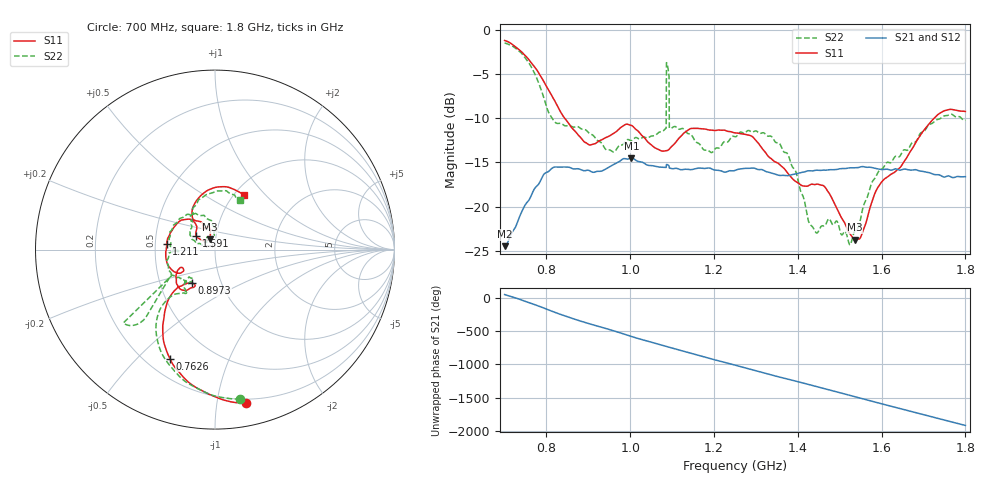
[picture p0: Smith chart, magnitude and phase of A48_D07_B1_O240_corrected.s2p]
! Created with skrf 1.9.0 (http://scikit-rf.org).
# Hz S RI R 50.0
!freq ReS11 ImS11 ReS21 ImS21 ReS12 ImS12 ReS22 ImS22
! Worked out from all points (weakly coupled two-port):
!   1601 points, 700 MHz to 1.8 GHz, reference 50 ohm
!   highest |S21| = -14.51 dB at 1.002 GHz (marker M1); lowest = -24.5 dB at 700.7 MHz (marker M2)
!   lowest |S11| = -23.7 dB at 1.535 GHz (marker M3), VSWR 1.14, Z = 46.9 + j5.46 ohm
!   |S11| at or under -10 dB: 843.6 MHz to 1.725 GHz (881.3 MHz wide, 68.6 % of centre)
!   |S22| runs from -24.3 to -1.5 dB; largest |S21 - S12| = 0.0036
!   S11 on the Smith chart (normalised r, x): 700 MHz: 0.17, -1.21; 762.6 MHz: 0.29, -0.63; 897.3 MHz: 0.73, -0.29; 1.211 GHz: 0.57, +0.04; 1.591 GHz: 0.80, +0.12; 1.8 GHz: 1.11, +0.77
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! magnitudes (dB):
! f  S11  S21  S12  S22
! 700 MHz  -1.2  -24.5  -24.3  -1.5
! 700.7 MHz  -1.2  -24.5  -24.2  -1.5
! 762.6 MHz  -3.6  -18.9  -18.8  -4.1
! 817.6 MHz  -7.8  -15.5  -15.6  -10.3
! 883.6 MHz  -12.3  -15.8  -15.7  -11.2
! 897.3 MHz  -12.9  -15.9  -16.0  -11.5
! 957.8 MHz  -11.8  -15.3  -15.3  -13.8
! 1.002 GHz  -10.8  -14.5  -14.6  -12.5
! 1.067 GHz  -13.5  -15.5  -15.4  -11.6
! 1.08 GHz  -13.7  -15.6  -15.6  -11.4
! 1.087 GHz  -13.7  -15.2  -15.2  -3.7
! 1.092 GHz  -13.5  -15.4  -15.4  -5.0
! 1.099 GHz  -13.2  -15.7  -15.7  -11.1
! 1.211 GHz  -11.3  -15.9  -15.9  -13.4
! 1.25 GHz  -11.6  -15.9  -15.8  -12.1
! 1.357 GHz  -15.2  -16.5  -16.4  -12.9
! 1.434 GHz  -17.5  -16.0  -15.9  -22.2
! 1.535 GHz  -23.7  -15.6  -15.6  -22.8
! 1.591 GHz  -17.8  -15.7  -15.7  -16.2
! 1.617 GHz  -16.5  -15.8  -15.8  -15.0
! 1.733 GHz  -9.6  -16.4  -16.4  -10.1
! 1.8 GHz  -9.2  -16.6  -16.6  -10.2
